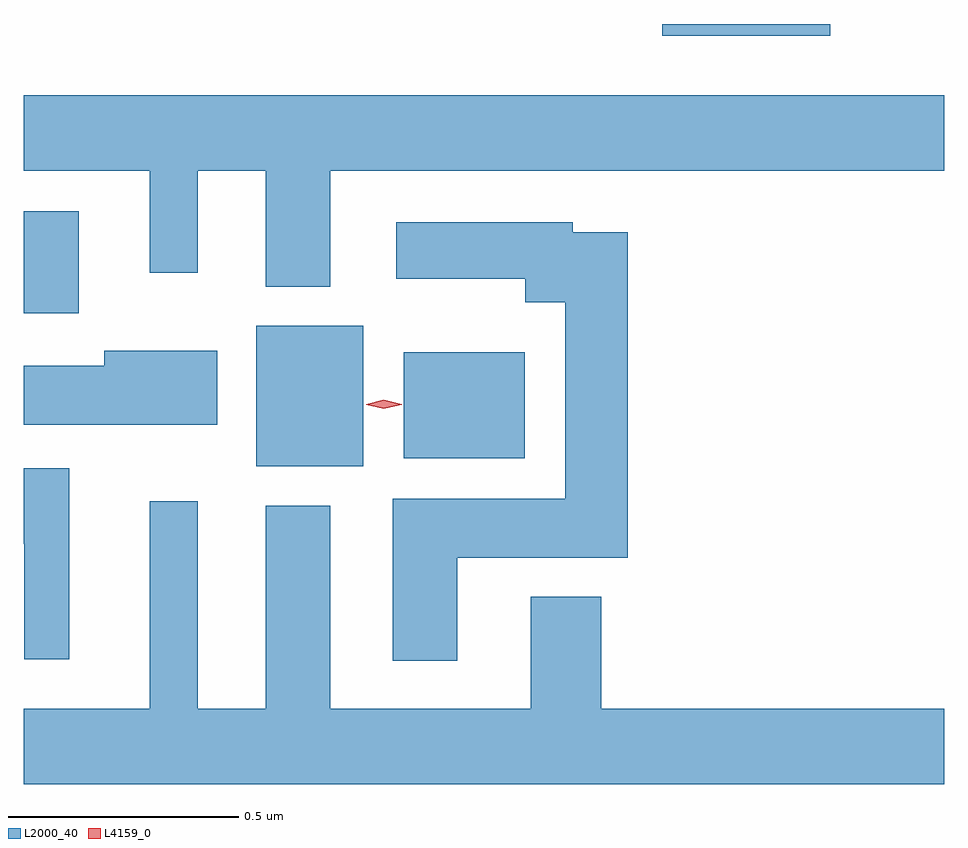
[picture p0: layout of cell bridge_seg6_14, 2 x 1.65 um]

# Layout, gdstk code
import gdstk
lib = gdstk.Library(unit=1e-6, precision=1e-09)
def R(c, l, rs):  # rectangles x0, y0, x1, y1
    for r in rs: c.add(gdstk.rectangle(r[:2], r[2:], *l))
def P(c, l, *ps):  # polygons
    for p in ps: c.add(gdstk.Polygon(p, *l))
L2000_40 = (2000, 40)
L4159_0 = (4159, 0)

bridge_seg6_14 = lib.new_cell('bridge_seg6_14')
R(bridge_seg6_14, L2000_40, [(911.942,983.99,912.175,984.295), (912.263,984.008,912.526,984.238), (911.437,984.323,911.557,984.544), (912.824,984.926,913.189,984.951)])
P(bridge_seg6_14, L2000_40, [(912.103,984.632),(913.437,984.632),(913.437,984.796),(911.437,984.796),(911.437,984.632),(911.711,984.632),(911.711,984.411),(911.815,984.411),(911.815,984.632),(911.963,984.632),(911.963,984.38),(912.103,984.38)],
  [(912.379,983.792),(912.749,983.792),(912.749,984.499),(912.63,984.499),(912.63,984.52),(912.246,984.52),(912.246,984.398),(912.527,984.398),(912.527,984.347),(912.614,984.347),(912.614,983.92),(912.239,983.92),(912.239,983.568),(912.379,983.568)],
  [(911.857,984.241),(911.612,984.241),(911.612,984.209),(911.437,984.209),(911.437,984.08),(911.857,984.08)],
  [(911.536,983.986),(911.437,983.986),(911.437,983.822),(911.438,983.822),(911.438,983.571),(911.536,983.571)],
  [(913.437,983.464),(912.692,983.464),(912.692,983.707),(912.539,983.707),(912.539,983.464),(912.103,983.464),(912.103,983.905),(911.963,983.905),(911.963,983.464),(911.815,983.464),(911.815,983.914),(911.711,983.914),(911.711,983.464),(911.437,983.464),(911.437,983.3),(913.437,983.3)])
P(bridge_seg6_14, L4159_0, [(912.219,984.115),(912.181,984.124),(912.181,984.125),(912.181,984.125),(912.219,984.135),(912.258,984.125),(912.258,984.125),(912.258,984.124)])

lib.write_gds('bridge_seg6_14.gds')
